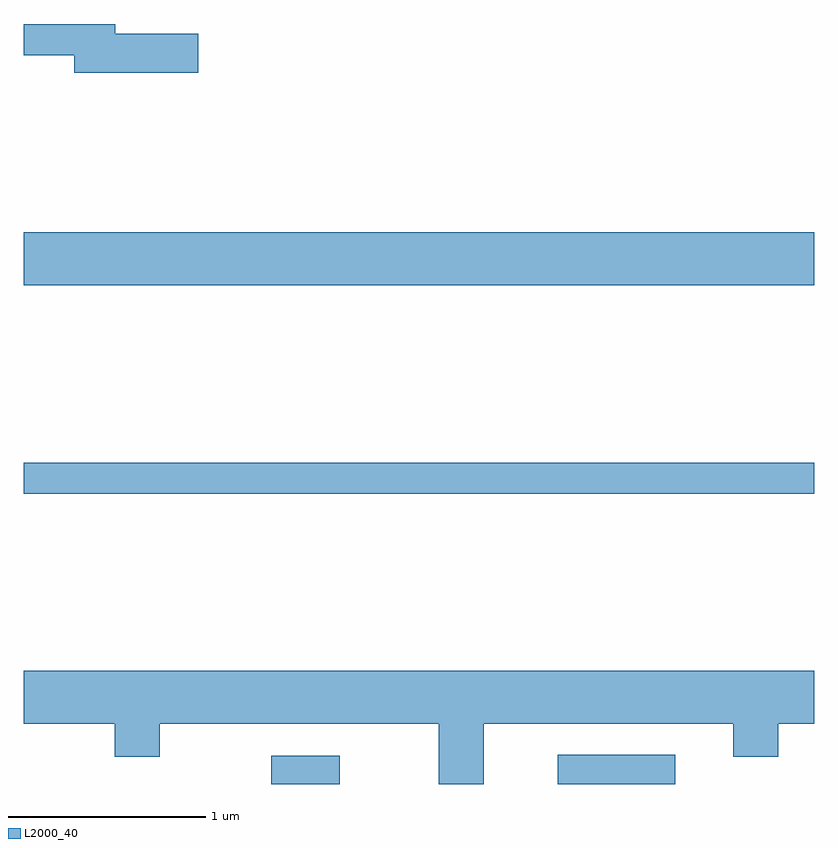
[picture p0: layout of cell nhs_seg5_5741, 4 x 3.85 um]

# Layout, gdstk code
import gdstk
lib = gdstk.Library(unit=1e-6, precision=1e-09)
def R(c, l, rs):  # rectangles x0, y0, x1, y1
    for r in rs: c.add(gdstk.rectangle(r[:2], r[2:], *l))
def P(c, l, *ps):  # polygons
    for p in ps: c.add(gdstk.Polygon(p, *l))
L2000_40 = (2000, 40)

nhs_seg5_5741 = lib.new_cell('nhs_seg5_5741')
R(nhs_seg5_5741, L2000_40, [(356.863,1432.072,357.209,1432.214), (358.313,1432.072,358.909,1432.219), (355.611,1433.541,359.611,1433.699), (355.611,1434.596,359.611,1434.864)])
P(nhs_seg5_5741, L2000_40, [(356.494,1435.869),(356.074,1435.869),(356.074,1435.919),(355.611,1435.919),(355.611,1435.761),(355.866,1435.761),(355.866,1435.671),(356.494,1435.671)],
  [(357.939,1432.376),(359.201,1432.376),(359.201,1432.211),(359.429,1432.211),(359.429,1432.376),(359.611,1432.376),(359.611,1432.644),(355.611,1432.644),(355.611,1432.376),(356.071,1432.376),(356.071,1432.211),(356.299,1432.211),(356.299,1432.376),(357.711,1432.376),(357.711,1432.072),(357.939,1432.072)])

lib.write_gds('nhs_seg5_5741.gds')
